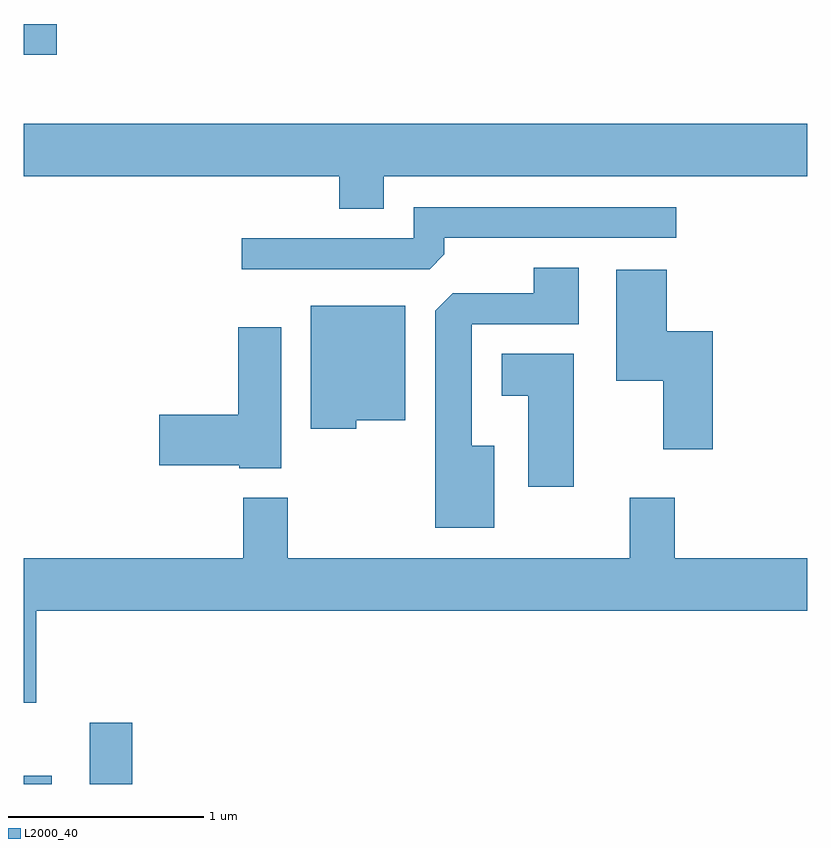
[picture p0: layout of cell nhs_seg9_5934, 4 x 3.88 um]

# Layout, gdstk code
import gdstk
lib = gdstk.Library(unit=1e-6, precision=1e-09)
def R(c, l, rs):  # rectangles x0, y0, x1, y1
    for r in rs: c.add(gdstk.rectangle(r[:2], r[2:], *l))
def P(c, l, *ps):  # polygons
    for p in ps: c.add(gdstk.Polygon(p, *l))
L2000_40 = (2000, 40)

nhs_seg9_5934 = lib.new_cell('nhs_seg9_5934')
R(nhs_seg9_5934, L2000_40, [(359.611,2046.432,359.754,2046.474), (359.946,2046.432,360.164,2046.744), (359.611,2050.156,359.778,2050.314)])
P(nhs_seg9_5934, L2000_40, [(361.449,2049.536),(363.611,2049.536),(363.611,2049.804),(359.611,2049.804),(359.611,2049.536),(361.221,2049.536),(361.221,2049.371),(361.449,2049.371)],
  [(361.759,2049.137),(361.759,2049.221),(362.943,2049.221),(362.943,2049.379),(361.601,2049.379),(361.601,2049.219),(360.723,2049.219),(360.723,2049.061),(361.684,2049.061)],
  [(362.014,2048.159),(361.899,2048.159),(361.899,2048.781),(362.444,2048.781),(362.444,2049.069),(362.216,2049.069),(362.216,2048.939),(361.802,2048.939),(361.711,2048.849),(361.711,2047.741),(362.014,2047.741)],
  [(363.129,2048.744),(362.894,2048.744),(362.894,2049.059),(362.636,2049.059),(362.636,2048.491),(362.876,2048.491),(362.876,2048.141),(363.129,2048.141)],
  [(361.309,2048.291),(361.559,2048.291),(361.559,2048.874),(361.076,2048.874),(361.076,2048.246),(361.309,2048.246)],
  [(360.924,2048.764),(360.706,2048.764),(360.706,2048.319),(360.301,2048.319),(360.301,2048.061),(360.71,2048.061),(360.71,2048.046),(360.924,2048.046)],
  [(362.419,2048.629),(362.051,2048.629),(362.051,2048.416),(362.186,2048.416),(362.186,2047.951),(362.419,2047.951)],
  [(359.674,2047.316),(363.611,2047.316),(363.611,2047.584),(362.934,2047.584),(362.934,2047.894),(362.706,2047.894),(362.706,2047.584),(360.959,2047.584),(360.959,2047.894),(360.731,2047.894),(360.731,2047.584),(359.611,2047.584),(359.611,2046.846),(359.674,2046.846)])

lib.write_gds('nhs_seg9_5934.gds')
